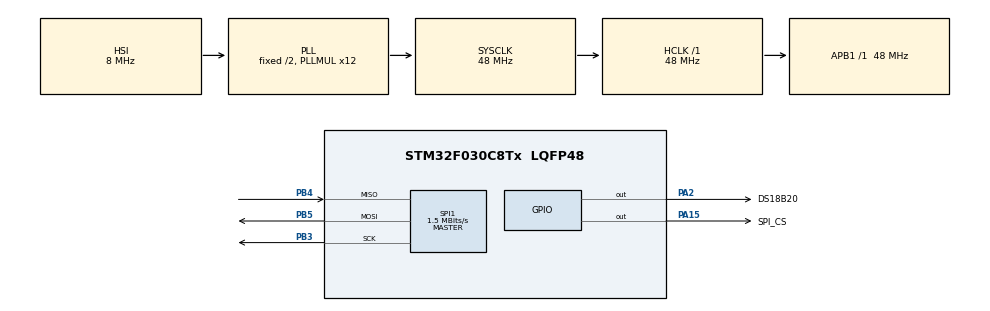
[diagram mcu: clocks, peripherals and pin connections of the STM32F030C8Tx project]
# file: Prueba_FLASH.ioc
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Mcu.Family=STM32F0
Mcu.Name=STM32F030C8Tx
Mcu.Package=LQFP48
NVIC.SPI1_IRQn=true\:0\:0\:false\:false\:true\:true\:true\:true
PA15.GPIO_Label=SPI_CS
PA15.PinState=GPIO_PIN_SET
PA15.Signal=GPIO_Output
PA2.GPIO_Label=DS18B20
PA2.Signal=GPIO_Output
PB3.GPIO_PuPd=GPIO_NOPULL
PB3.Mode=Full_Duplex_Master
PB3.Signal=SPI1_SCK
PB4.GPIO_PuPd=GPIO_NOPULL
PB4.Mode=Full_Duplex_Master
PB4.Signal=SPI1_MISO
PB5.GPIO_PuPd=GPIO_NOPULL
PB5.Mode=Full_Duplex_Master
PB5.Signal=SPI1_MOSI
ProjectManager.HeapSize=0x200
ProjectManager.StackSize=0x400
ProjectManager.TargetToolchain=STM32CubeIDE
RCC.AHBFreq_Value=48000000
RCC.APB1Freq_Value=48000000
RCC.APB1TimFreq_Value=48000000
RCC.HCLKFreq_Value=48000000
RCC.PLLMUL=RCC_PLL_MUL12
RCC.SYSCLKFreq_VALUE=48000000
RCC.SYSCLKSource=RCC_SYSCLKSOURCE_PLLCLK
SPI1.BaudRatePrescaler=SPI_BAUDRATEPRESCALER_32
SPI1.CalculateBaudRate=1.5 MBits/s
SPI1.DataSize=SPI_DATASIZE_8BIT
SPI1.Direction=SPI_DIRECTION_2LINES
SPI1.Mode=SPI_MODE_MASTER
SPI1.VirtualType=VM_MASTER
TIM3.Prescaler=48-1
VP_TIM3_VS_ClockSourceINT.Mode=Internal
board=custom

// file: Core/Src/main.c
/* USER CODE BEGIN Header */
/**
  ******************************************************************************
  * @file           : main.c
  * @brief          : Main program body
  ******************************************************************************
  * @attention
  *
  * Copyright (c) 2022 STMicroelectronics.
  * All rights reserved.
  *
  * This software is licensed under terms that can be found in the LICENSE file
  * in the root directory of this software component.
  * If no LICENSE file comes with this software, it is provided AS-IS.
  *
  ******************************************************************************
  */
/* USER CODE END Header */
#include "main.h"

/* USER CODE BEGIN Includes */
#include "Flash.h"
#include <string.h>
#include <stdio.h>
/* USER CODE END Includes */

SPI_HandleTypeDef hspi1;

TIM_HandleTypeDef htim3;

/* USER CODE BEGIN PV */
uint8_t transmit_text[ 64 ];
extern uint8_t read_flash_Byte[ 255 ];
volatile uint8_t address_to_write[3] ;
uint8_t things_to_write[255];
/* USER CODE END PV */

void SystemClock_Config(void);
static void MX_GPIO_Init(void);
static void MX_SPI1_Init(void);
static void MX_TIM3_Init(void);

int main(void)
{

  /* MCU Configuration--------------------------------------------------------*/

  /* Reset of all peripherals, Initializes the Flash interface and the Systick. */
  HAL_Init();

  /* Configure the system clock */
  SystemClock_Config();

  /* Initialize all configured peripherals */
  MX_GPIO_Init();
  MX_SPI1_Init();
  MX_TIM3_Init();
  /* USER CODE BEGIN 2 */
  //HAL_TIM_Base_Start(&htim2);
  //flash_csn(1);

  HAL_TIM_Base_Start_IT(&htim3);
  DS18B20_Init(htim3, DS18B20_GPIO_Port, DS18B20_Pin);

  /* USER CODE END 2 */

  /* Infinite loop */
  /* USER CODE BEGIN WHILE */

  Flash_read_identification_id();
  Flash_activate_deactivate_block_protect();
  uint8_t status_reg1;
  uint8_t status_reg2;
  uint8_t status_reg3;

  Flash_read_status1_register( &status_reg1 );
  Flash_read_status2_register( &status_reg2 );
  Flash_read_status3_register( &status_reg3 );

  Flash_read_page(0x00, 0x01, 0x00, 255);
  Flash_sector_erase(0x00, 0x01, 0x02);
  Flash_read_page(0x00, 0x01, 0x00, 255);
  uint8_t size_to_send;
  size_to_send = sprintf( &things_to_write, "the temperature is: %d \r\n", 30 );
  Flash_write_page( 0x00, 0x01, 0x02 , &things_to_write[0] , 255 );
  Flash_read_page(0x00, 0x01, 0x02, 255);
  Flash_read_page(0x00, 0x01, 0x02, 255);
 /* uint8_t Presence;
  uint8_t Temp_byte1;
  uint8_t Temp_byte2;
  uint8_t size_to_send;
  float temp_dec;

  memset(&read_flash_Byte, 0x00,255);
  Flash_activate_write();
  Flash_read_status_register_2();
  Flash_read_status_register_3();
  Flash_read_identification_id();
  size_to_send = sprintf( &transmit_text, "id read: %d \r\n", read_flash_Byte[0] );
  HAL_UART_Transmit(&huart2, &transmit_text, size_to_send, 1000);

  memset(&things_to_write, 0x00,255);
  address_to_write[0] = 0x00;
  address_to_write[2] = 0x02;
  Flash_read_page(0x00, 0x01, 0x02, 255);
  Flash_block_erase(0x00, 0x01, 0x02);
  //erase_all();
  HAL_Delay(100);

  memset(&things_to_write, 0x20,255);
  Flash_read_identification_id();
  Flash_write_page( 0x00, 0x01, 0x02 , &things_to_write[0] , 255 );
  HAL_Delay(100);
  Flash_read_identification_id();
  Flash_read_page(0x00, 0x01, 0x02, 255);
  Flash_block_erase(0x00, 0x01, 0x02);
  HAL_Delay(100);
  size_to_send = sprintf( &things_to_write, "the temperature is: %d \r\n", 30 );
 // memset(&things_to_write, 0x30,255);
  Flash_write_page(0x00, 0x01, 0x02 , &things_to_write[0] , 255 );
  HAL_Delay(100);
  Flash_read_page(0x00, 0x01, 0x02, 255);
  size_to_send = sprintf( &transmit_text, "value read: %c \r\n", read_flash_Byte[0] );
  HAL_UART_Transmit(&huart2, &transmit_text, size_to_send, 1000);
  HAL_Delay(1000);
*/

  while (1)
  {
	  // program to read the temperature
	  /*
	  Presence = DS18B20_Start();
	  HAL_Delay (1);
	  DS18B20_Write (0xCC);  // skip ROM
	  DS18B20_Write (0x44);  // convert t
	  HAL_Delay (800);

	  Presence = DS18B20_Start ();
	  HAL_Delay(1);
	  DS18B20_Write (0xCC);  // skip ROM
	  DS18B20_Write (0xBE);  // Read Scratch-pad

	  Temp_byte1 = DS18B20_Read();
	  Temp_byte2 = DS18B20_Read();
	  HAL_UART_Transmit(&huart2, "read", 4, 1000);
	  size_to_send = sprintf( &transmit_text, "presence %d el primer %d y el segundo %d \r\n", Presence,Temp_byte1,Temp_byte2);
	  HAL_UART_Transmit(&huart2, &transmit_text, size_to_send, 1000);
	  temp_dec = convert_temperature(Temp_byte1 , Temp_byte2);
	  size_to_send = sprintf( &transmit_text, "result temperature %f \r\n", temp_dec );
	  HAL_UART_Transmit(&huart2, &transmit_text, size_to_send, 1000);
*/

    /* USER CODE END WHILE */

  }
}

void SystemClock_Config(void)
{
  RCC_OscInitTypeDef RCC_OscInitStruct = {0};
  RCC_ClkInitTypeDef RCC_ClkInitStruct = {0};

  /** Initializes the RCC Oscillators according to the specified parameters
  * in the RCC_OscInitTypeDef structure.
  */
  RCC_OscInitStruct.OscillatorType = RCC_OSCILLATORTYPE_HSI;
  RCC_OscInitStruct.HSIState = RCC_HSI_ON;
  RCC_OscInitStruct.HSICalibrationValue = RCC_HSICALIBRATION_DEFAULT;
  RCC_OscInitStruct.PLL.PLLState = RCC_PLL_ON;
  RCC_OscInitStruct.PLL.PLLSource = RCC_PLLSOURCE_HSI;
  RCC_OscInitStruct.PLL.PLLMUL = RCC_PLL_MUL12;
  RCC_OscInitStruct.PLL.PREDIV = RCC_PREDIV_DIV1;
  if (HAL_RCC_OscConfig(&RCC_OscInitStruct) != HAL_OK)
  {
    Error_Handler();
  }

  /** Initializes the CPU, AHB and APB buses clocks
  */
  RCC_ClkInitStruct.ClockType = RCC_CLOCKTYPE_HCLK|RCC_CLOCKTYPE_SYSCLK
                              |RCC_CLOCKTYPE_PCLK1;
  RCC_ClkInitStruct.SYSCLKSource = RCC_SYSCLKSOURCE_PLLCLK;
  RCC_ClkInitStruct.AHBCLKDivider = RCC_SYSCLK_DIV1;
  RCC_ClkInitStruct.APB1CLKDivider = RCC_HCLK_DIV1;

  if (HAL_RCC_ClockConfig(&RCC_ClkInitStruct, FLASH_LATENCY_1) != HAL_OK)
  {
    Error_Handler();
  }
}

static void MX_SPI1_Init(void)
{

  /* SPI1 parameter configuration*/
  hspi1.Instance = SPI1;
  hspi1.Init.Mode = SPI_MODE_MASTER;
  hspi1.Init.Direction = SPI_DIRECTION_2LINES;
  hspi1.Init.DataSize = SPI_DATASIZE_8BIT;
  hspi1.Init.CLKPolarity = SPI_POLARITY_LOW;
  hspi1.Init.CLKPhase = SPI_PHASE_1EDGE;
  hspi1.Init.NSS = SPI_NSS_SOFT;
  hspi1.Init.BaudRatePrescaler = SPI_BAUDRATEPRESCALER_32;
  hspi1.Init.FirstBit = SPI_FIRSTBIT_MSB;
  hspi1.Init.TIMode = SPI_TIMODE_DISABLE;
  hspi1.Init.CRCCalculation = SPI_CRCCALCULATION_DISABLE;
  hspi1.Init.CRCPolynomial = 7;
  hspi1.Init.CRCLength = SPI_CRC_LENGTH_DATASIZE;
  hspi1.Init.NSSPMode = SPI_NSS_PULSE_ENABLE;
  if (HAL_SPI_Init(&hspi1) != HAL_OK)
  {
    Error_Handler();
  }

}

static void MX_TIM3_Init(void)
{

  TIM_ClockConfigTypeDef sClockSourceConfig = {0};
  TIM_MasterConfigTypeDef sMasterConfig = {0};

  htim3.Instance = TIM3;
  htim3.Init.Prescaler = 48-1;
  htim3.Init.CounterMode = TIM_COUNTERMODE_UP;
  htim3.Init.Period = 65535;
  htim3.Init.ClockDivision = TIM_CLOCKDIVISION_DIV1;
  htim3.Init.AutoReloadPreload = TIM_AUTORELOAD_PRELOAD_DISABLE;
  if (HAL_TIM_Base_Init(&htim3) != HAL_OK)
  {
    Error_Handler();
  }
  sClockSourceConfig.ClockSource = TIM_CLOCKSOURCE_INTERNAL;
  if (HAL_TIM_ConfigClockSource(&htim3, &sClockSourceConfig) != HAL_OK)
  {
    Error_Handler();
  }
  sMasterConfig.MasterOutputTrigger = TIM_TRGO_RESET;
  sMasterConfig.MasterSlaveMode = TIM_MASTERSLAVEMODE_DISABLE;
  if (HAL_TIMEx_MasterConfigSynchronization(&htim3, &sMasterConfig) != HAL_OK)
  {
    Error_Handler();
  }

}

static void MX_GPIO_Init(void)
{
  GPIO_InitTypeDef GPIO_InitStruct = {0};

  /* GPIO Ports Clock Enable */
  __HAL_RCC_GPIOA_CLK_ENABLE();
  __HAL_RCC_GPIOB_CLK_ENABLE();

  /*Configure GPIO pin Output Level */
  HAL_GPIO_WritePin(DS18B20_GPIO_Port, DS18B20_Pin, GPIO_PIN_RESET);

  /*Configure GPIO pin Output Level */
  HAL_GPIO_WritePin(SPI_CS_GPIO_Port, SPI_CS_Pin, GPIO_PIN_SET);

  /*Configure GPIO pins : DS18B20_Pin SPI_CS_Pin */
  GPIO_InitStruct.Pin = DS18B20_Pin|SPI_CS_Pin;
  GPIO_InitStruct.Mode = GPIO_MODE_OUTPUT_PP;
  GPIO_InitStruct.Pull = GPIO_NOPULL;
  GPIO_InitStruct.Speed = GPIO_SPEED_FREQ_LOW;
  HAL_GPIO_Init(GPIOA, &GPIO_InitStruct);

}

void Error_Handler(void)
{
  __disable_irq();
  while (1)
  {
  }
}
